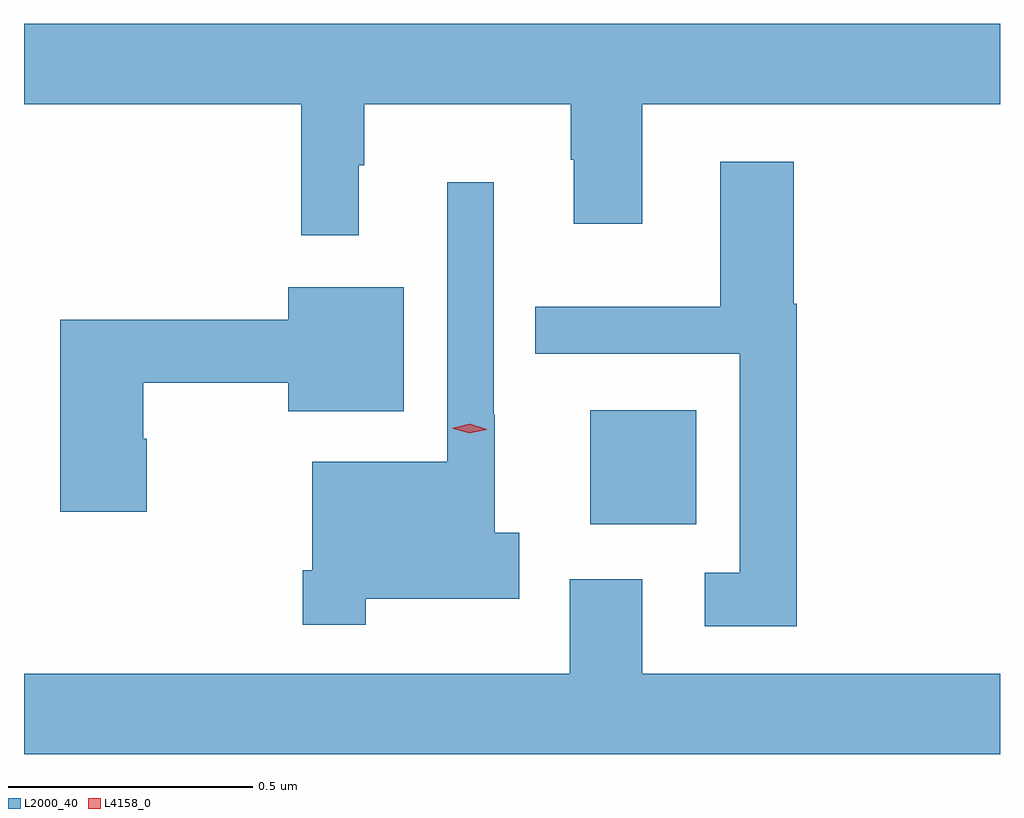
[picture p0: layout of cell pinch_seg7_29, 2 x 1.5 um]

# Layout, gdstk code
import gdstk
lib = gdstk.Library(unit=1e-6, precision=1e-09)
def R(c, l, rs):  # rectangles x0, y0, x1, y1
    for r in rs: c.add(gdstk.rectangle(r[:2], r[2:], *l))
def P(c, l, *ps):  # polygons
    for p in ps: c.add(gdstk.Polygon(p, *l))
L2000_40 = (2000, 40)
L4158_0 = (4158, 0)

pinch_seg7_29 = lib.new_cell('pinch_seg7_29')
R(pinch_seg7_29, L2000_40, [(1073.732,1045.043,1073.95,1045.276)])
P(pinch_seg7_29, L2000_40, [(1073.258,1045.778),(1073.269,1045.778),(1073.269,1045.904),(1073.692,1045.904),(1073.692,1045.79),(1073.699,1045.79),(1073.699,1045.659),(1073.839,1045.659),(1073.839,1045.904),(1074.572,1045.904),(1074.572,1046.068),(1072.572,1046.068),(1072.572,1045.904),(1073.14,1045.904),(1073.14,1045.635),(1073.258,1045.635)],
  [(1074.155,1045.495),(1074.149,1045.495),(1074.149,1045.786),(1073.999,1045.786),(1073.999,1045.489),(1073.62,1045.489),(1073.62,1045.392),(1074.039,1045.392),(1074.039,1044.943),(1073.967,1044.943),(1073.967,1044.834),(1074.155,1044.834)],
  [(1073.272,1044.89),(1073.587,1044.89),(1073.587,1045.025),(1073.537,1045.025),(1073.537,1045.267),(1073.535,1045.267),(1073.535,1045.744),(1073.439,1045.744),(1073.439,1045.171),(1073.163,1045.171),(1073.163,1044.949),(1073.143,1044.949),(1073.143,1044.837),(1073.272,1044.837)],
  [(1072.824,1045.218),(1072.816,1045.218),(1072.816,1045.333),(1073.114,1045.333),(1073.114,1045.274),(1073.35,1045.274),(1073.35,1045.528),(1073.114,1045.528),(1073.114,1045.462),(1072.646,1045.462),(1072.646,1045.068),(1072.824,1045.068)],
  [(1074.572,1044.736),(1073.839,1044.736),(1073.839,1044.93),(1073.69,1044.93),(1073.69,1044.736),(1072.572,1044.736),(1072.572,1044.572),(1074.572,1044.572)])
P(pinch_seg7_29, L4158_0, [(1073.484,1045.229),(1073.449,1045.24),(1073.449,1045.24),(1073.449,1045.24),(1073.485,1045.249),(1073.52,1045.238),(1073.52,1045.237),(1073.52,1045.237)])

lib.write_gds('pinch_seg7_29.gds')
